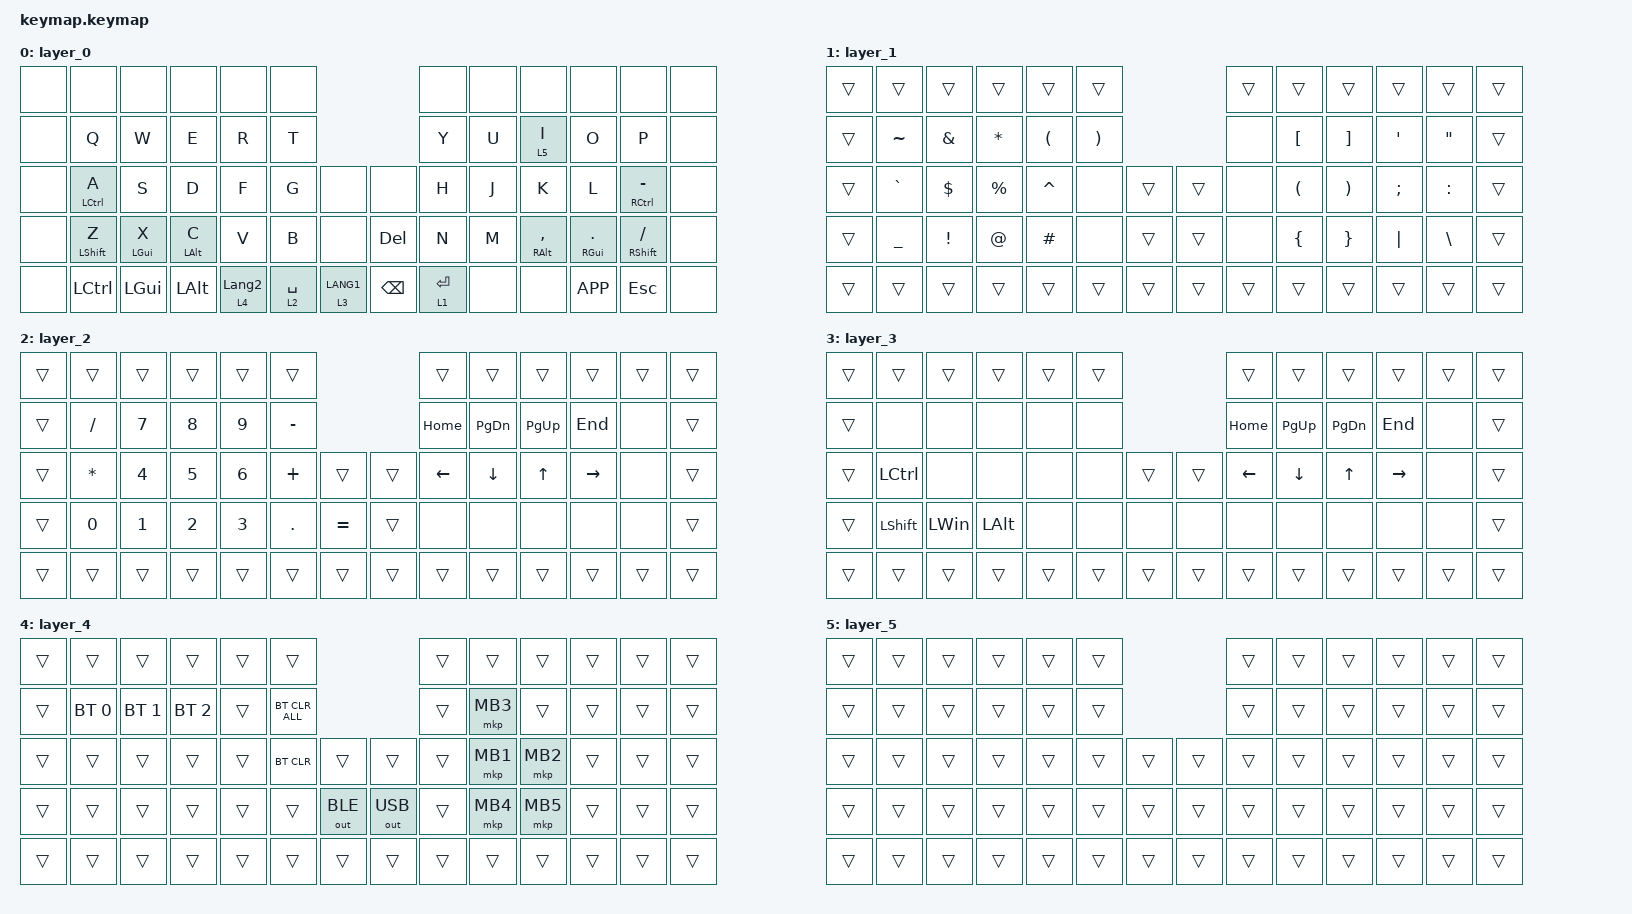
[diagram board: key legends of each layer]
#include <behaviors.dtsi>
#include <dt-bindings/zmk/bt.h>
#include <dt-bindings/zmk/keys.h>
#include <dt-bindings/zmk/outputs.h>
#include <dt-bindings/zmk/pointing.h>

/ {
    combos {
        compatible = "zmk,combos";

        tab {
            bindings = <&kp TAB>;
            key-positions = <26 27>;
            layers = <0>;
        };
    };

    keymap {
        compatible = "zmk,keymap";

        layer_0 {
            bindings = <
&none  &none         &none       &none       &none             &none                                 &none        &none  &none           &none         &none                 &none
&none  &kp Q         &kp W       &kp E       &kp R             &kp T                                 &kp Y        &kp U  &lt 5 I         &kp O         &kp P                 &none
&none  &mt LCTRL A   &kp S       &kp D       &kp F             &kp G        &none        &none       &kp H        &kp J  &kp K           &kp L         &mt RCTRL MINUS       &none
&none  &mt LSHIFT Z  &mt LGUI X  &mt LALT C  &kp V             &kp B        &none        &kp DELETE  &kp N        &kp M  &mt RALT COMMA  &mt RGUI DOT  &mt RIGHT_SHIFT FSLH  &none
&none  &kp LCTRL     &kp LGUI    &kp LALT    &lt 4 LANGUAGE_2  &lt 2 SPACE  &lt 3 LANG1  &kp BSPC    &lt 1 ENTER  &none  &none           &kp K_APP     &kp ESC               &none
            >;
        };

        layer_1 {
            bindings = <
&trans  &trans          &trans           &trans        &trans                &trans                                 &trans  &trans                &trans                 &trans         &trans             &trans
&trans  &kp TILDE       &kp AMPERSAND    &kp ASTERISK  &kp LEFT_PARENTHESIS  &kp RIGHT_PARENTHESIS                  &none   &kp LEFT_BRACKET      &kp RIGHT_BRACKET      &kp SQT        &kp DOUBLE_QUOTES  &trans
&trans  &kp GRAVE       &kp DOLLAR       &kp PERCENT   &kp CARET             &none                  &trans  &trans  &none   &kp LEFT_PARENTHESIS  &kp RIGHT_PARENTHESIS  &kp SEMICOLON  &kp COLON          &trans
&trans  &kp UNDERSCORE  &kp EXCLAMATION  &kp AT_SIGN   &kp HASH              &none                  &trans  &trans  &none   &kp LEFT_BRACE        &kp RIGHT_BRACE        &kp PIPE       &kp BACKSLASH      &trans
&trans  &trans          &trans           &trans        &trans                &trans                 &trans  &trans  &trans  &trans                &trans                 &trans         &trans             &trans
            >;
        };

        layer_2 {
            bindings = <
&trans  &trans        &trans  &trans  &trans  &trans                         &trans          &trans         &trans       &trans     &trans  &trans
&trans  &kp SLASH     &kp N7  &kp N8  &kp N9  &kp MINUS                      &kp HOME        &kp PAGE_DOWN  &kp PAGE_UP  &kp END    &none   &trans
&trans  &kp ASTERISK  &kp N4  &kp N5  &kp N6  &kp PLUS    &trans     &trans  &kp LEFT_ARROW  &kp DOWN       &kp UP       &kp RIGHT  &none   &trans
&trans  &kp N0        &kp N1  &kp N2  &kp N3  &kp PERIOD  &kp EQUAL  &trans  &none           &none          &none        &none      &none   &trans
&trans  &trans        &trans  &trans  &trans  &trans      &trans     &trans  &trans          &trans         &trans       &trans     &trans  &trans
            >;
        };

        layer_3 {
            bindings = <
&trans  &trans     &trans    &trans    &trans  &trans                  &trans    &trans     &trans         &trans     &trans  &trans
&trans  &none      &none     &none     &none   &none                   &kp HOME  &kp PG_UP  &kp PAGE_DOWN  &kp END    &none   &trans
&trans  &kp LCTRL  &none     &none     &none   &none   &trans  &trans  &kp LEFT  &kp DOWN   &kp UP_ARROW   &kp RIGHT  &none   &trans
&trans  &kp LSHFT  &kp LWIN  &kp LALT  &none   &none   &none   &none   &none     &none      &none          &none      &none   &trans
&trans  &trans     &trans    &trans    &trans  &trans  &trans  &trans  &trans    &trans     &trans         &trans     &trans  &trans
            >;
        };

        layer_4 {
            bindings = <
&trans  &trans        &trans        &trans        &trans  &trans                                      &trans  &trans    &trans    &trans  &trans  &trans
&trans  &bt BT_SEL 0  &bt BT_SEL 1  &bt BT_SEL 2  &trans  &bt BT_CLR_ALL                              &trans  &mkp MB3  &trans    &trans  &trans  &trans
&trans  &trans        &trans        &trans        &trans  &bt BT_CLR      &trans        &trans        &trans  &mkp MB1  &mkp MB2  &trans  &trans  &trans
&trans  &trans        &trans        &trans        &trans  &trans          &out OUT_BLE  &out OUT_USB  &trans  &mkp MB4  &mkp MB5  &trans  &trans  &trans
&trans  &trans        &trans        &trans        &trans  &trans          &trans        &trans        &trans  &trans    &trans    &trans  &trans  &trans
            >;
        };

        layer_5 {
            bindings = <
&trans  &trans  &trans  &trans  &trans  &trans                  &trans  &trans  &trans  &trans  &trans  &trans
&trans  &trans  &trans  &trans  &trans  &trans                  &trans  &trans  &trans  &trans  &trans  &trans
&trans  &trans  &trans  &trans  &trans  &trans  &trans  &trans  &trans  &trans  &trans  &trans  &trans  &trans
&trans  &trans  &trans  &trans  &trans  &trans  &trans  &trans  &trans  &trans  &trans  &trans  &trans  &trans
&trans  &trans  &trans  &trans  &trans  &trans  &trans  &trans  &trans  &trans  &trans  &trans  &trans  &trans
            >;
        };
    };
};
